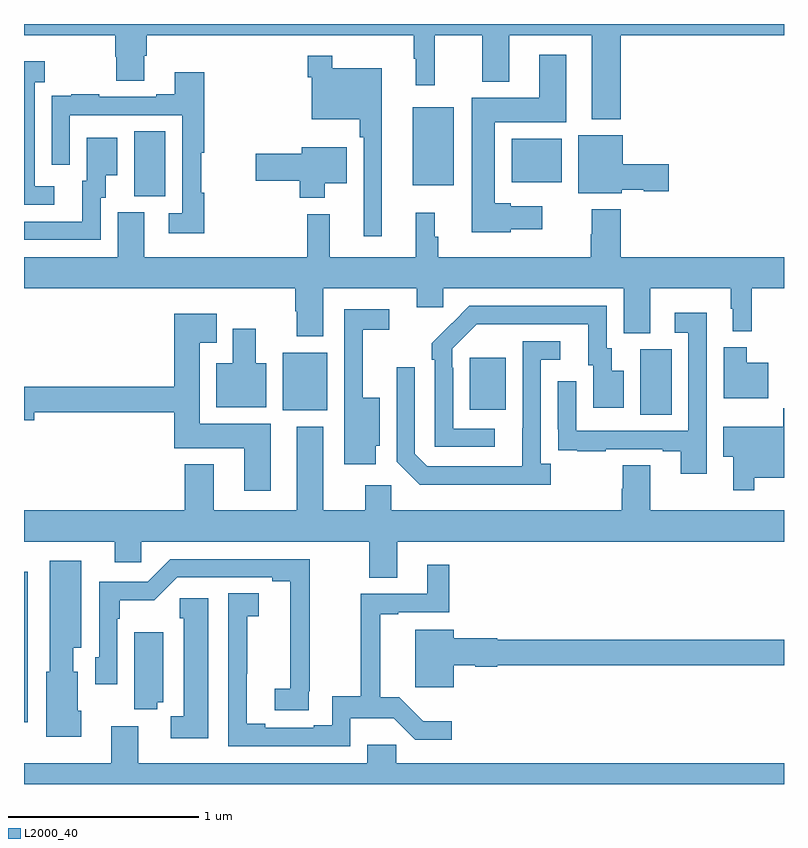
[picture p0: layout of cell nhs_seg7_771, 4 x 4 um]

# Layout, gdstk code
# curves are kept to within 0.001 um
import gdstk
lib = gdstk.Library(unit=1e-6, precision=1e-09)
def R(c, l, rs):  # rectangles x0, y0, x1, y1
    for r in rs: c.add(gdstk.rectangle(r[:2], r[2:], *l))
def P(c, l, *ps):  # polygons
    for p in ps: c.add(gdstk.Polygon(p, *l))
L2000_40 = (2000, 40)

nhs_seg7_771 = lib.new_cell('nhs_seg7_771')
R(nhs_seg7_771, L2000_40, [(169,1006.325,169.021,1007.116), (172.244,1007.944,172.408,1008.288), (170.363,1007.966,170.596,1008.271), (171.347,1007.969,171.535,1008.244), (169.58,1009.093,169.744,1009.436), (171.047,1009.151,171.262,1009.561), (171.566,1009.166,171.829,1009.396)])
P(nhs_seg7_771, L2000_40, [(169,1009.94),(169.481,1009.94),(169.481,1009.827),(169.486,1009.827),(169.486,1009.702),(169.633,1009.702),(169.633,1009.834),(169.646,1009.834),(169.646,1009.94),(171.051,1009.94),(171.051,1009.817),(171.062,1009.817),(171.062,1009.677),(171.162,1009.677),(171.162,1009.94),(171.413,1009.94),(171.413,1009.697),(171.553,1009.697),(171.553,1009.94),(171.989,1009.94),(171.989,1009.499),(172.142,1009.499),(172.142,1009.94),(173,1009.94),(173,1010),(169,1010)],
  [(171.561,1008.92),(171.727,1008.92),(171.727,1009.042),(171.561,1009.042),(171.561,1009.057),(171.478,1009.057),(171.478,1009.484),(171.853,1009.484),(171.853,1009.837),(171.713,1009.837),(171.713,1009.612),(171.356,1009.612),(171.356,1008.905),(171.561,1008.905)],
  [(170.884,1009.768),(170.623,1009.768),(170.623,1009.834),(170.494,1009.834),(170.494,1009.721),(170.514,1009.721),(170.514,1009.499),(170.767,1009.499),(170.767,1009.403),(170.787,1009.403),(170.787,1008.882),(170.884,1008.882)],
  [(169.159,1009.146),(169.056,1009.146),(169.056,1009.694),(169.108,1009.694),(169.108,1009.804),(169,1009.804),(169,1009.05),(169.159,1009.05)],
  [(169.949,1009.112),(169.934,1009.112),(169.934,1009.323),(169.949,1009.323),(169.949,1009.747),(169.793,1009.747),(169.793,1009.63),(169.697,1009.63),(169.697,1009.617),(169.397,1009.617),(169.397,1009.63),(169.249,1009.63),(169.249,1009.623),(169.147,1009.623),(169.147,1009.514),(169.146,1009.514),(169.146,1009.26),(169.242,1009.26),(169.242,1009.521),(169.833,1009.521),(169.833,1009.005),(169.761,1009.005),(169.761,1008.9),(169.949,1008.9)],
  [(172.146,1009.127),(172.263,1009.127),(172.263,1009.12),(172.393,1009.12),(172.393,1009.262),(172.15,1009.262),(172.15,1009.414),(171.917,1009.414),(171.917,1009.109),(172.146,1009.109)],
  [(169.404,1009.086),(169.429,1009.086),(169.429,1009.205),(169.492,1009.205),(169.492,1009.402),(169.331,1009.402),(169.331,1009.176),(169.307,1009.176),(169.307,1008.96),(169,1008.96),(169,1008.864),(169.404,1008.864)],
  [(170.584,1009.163),(170.698,1009.163),(170.698,1009.351),(170.462,1009.351),(170.462,1009.316),(170.22,1009.316),(170.22,1009.174),(170.45,1009.174),(170.45,1009.085),(170.584,1009.085)],
  [(169.493,1009.008),(169.493,1008.772),(169,1008.772),(169,1008.608),(170.428,1008.608),(170.428,1008.488),(170.435,1008.488),(170.435,1008.356),(170.575,1008.356),(170.575,1008.608),(171.068,1008.608),(171.068,1008.51),(171.207,1008.51),(171.207,1008.608),(172.157,1008.608),(172.157,1008.373),(172.297,1008.373),(172.297,1008.608),(172.719,1008.608),(172.719,1008.501),(172.73,1008.501),(172.73,1008.383),(172.829,1008.383),(172.829,1008.608),(173,1008.608),(173,1008.772),(172.142,1008.772),(172.142,1009.024),(171.989,1009.024),(171.989,1008.893),(171.982,1008.893),(171.982,1008.772),(171.179,1008.772),(171.179,1008.881),(171.161,1008.881),(171.161,1009.006),(171.062,1009.006),(171.062,1008.772),(170.609,1008.772),(170.609,1009),(170.491,1009),(170.491,1008.772),(169.633,1008.772),(169.633,1009.008)],
  [(171.478,1007.871),(171.258,1007.871),(171.258,1008.191),(171.255,1008.191),(171.255,1008.291),(171.384,1008.42),(171.971,1008.42),(171.971,1008.204),(171.995,1008.204),(171.995,1007.979),(172.156,1007.979),(172.156,1008.175),(172.093,1008.175),(172.093,1008.294),(172.068,1008.294),(172.068,1008.516),(171.344,1008.516),(171.147,1008.321),(171.147,1008.233),(171.162,1008.233),(171.162,1007.775),(171.478,1007.775)],
  [(170.851,1007.781),(170.872,1007.781),(170.872,1008.034),(170.783,1008.034),(170.783,1008.39),(170.923,1008.39),(170.923,1008.498),(170.685,1008.498),(170.685,1007.684),(170.851,1007.684)],
  [(172.593,1008.481),(172.425,1008.481),(172.425,1008.375),(172.497,1008.375),(172.497,1007.859),(171.906,1007.859),(171.906,1008.121),(171.81,1008.121),(171.81,1007.866),(171.811,1007.866),(171.811,1007.757),(171.913,1007.757),(171.913,1007.751),(172.061,1007.751),(172.061,1007.763),(172.361,1007.763),(172.361,1007.751),(172.457,1007.751),(172.457,1007.634),(172.593,1007.634)],
  [(170.299,1007.896),(169.924,1007.896),(169.924,1008.323),(170.014,1008.323),(170.014,1008.475),(169.79,1008.475),(169.79,1008.092),(169,1008.092),(169,1007.914),(169.054,1007.914),(169.054,1007.956),(169.79,1007.956),(169.79,1007.768),(170.159,1007.768),(170.159,1007.544),(170.299,1007.544)],
  [(170.275,1008.214),(170.221,1008.214),(170.221,1008.397),(170.099,1008.397),(170.099,1008.214),(170.012,1008.214),(170.012,1007.984),(170.275,1007.984)],
  [(171.772,1007.686),(171.72,1007.686),(171.72,1008.234),(171.823,1008.234),(171.823,1008.33),(171.624,1008.33),(171.623,1007.673),(171.123,1007.673),(171.057,1007.739),(171.057,1008.193),(170.961,1008.193),(170.961,1007.697),(171.082,1007.576),(171.772,1007.576)],
  [(172.918,1008.217),(172.804,1008.217),(172.804,1008.298),(172.682,1008.298),(172.682,1008.029),(172.918,1008.029)],
  [(172.843,1007.612),(173,1007.612),(173,1007.977),(172.995,1007.977),(172.995,1007.881),(172.68,1007.881),(172.68,1007.723),(172.733,1007.723),(172.733,1007.547),(172.843,1007.547)],
  [(170.965,1007.276),(173,1007.276),(173,1007.44),(172.297,1007.44),(172.297,1007.678),(172.15,1007.678),(172.15,1007.553),(172.145,1007.553),(172.145,1007.44),(170.934,1007.44),(170.934,1007.572),(170.795,1007.572),(170.795,1007.44),(170.575,1007.44),(170.575,1007.881),(170.435,1007.881),(170.435,1007.44),(169.999,1007.44),(169.999,1007.683),(169.847,1007.683),(169.847,1007.44),(169,1007.44),(169,1007.276),(169.478,1007.276),(169.478,1007.166),(169.617,1007.166),(169.617,1007.276),(170.818,1007.276),(170.818,1007.086),(170.965,1007.086)],
  [(170.498,1006.489),(170.504,1006.489),(170.504,1007.184),(169.77,1007.184),(169.65,1007.064),(169.395,1007.064),(169.395,1006.668),(169.374,1006.668),(169.374,1006.524),(169.491,1006.524),(169.491,1006.871),(169.504,1006.871),(169.504,1006.967),(169.685,1006.967),(169.806,1007.088),(170.306,1007.088),(170.306,1007.068),(170.402,1007.068),(170.401,1006.502),(170.319,1006.502),(170.319,1006.387),(170.498,1006.387)],
  [(169.3,1006.386),(169.284,1006.386),(169.284,1006.59),(169.258,1006.59),(169.258,1006.718),(169.3,1006.718),(169.3,1007.176),(169.136,1007.176),(169.136,1006.59),(169.118,1006.59),(169.118,1006.25),(169.3,1006.25)],
  [(170.718,1006.346),(170.947,1006.346),(171.06,1006.233),(171.25,1006.233),(171.25,1006.33),(171.101,1006.33),(170.975,1006.456),(170.876,1006.456),(170.876,1006.893),(170.971,1006.893),(170.971,1006.905),(171.239,1006.905),(171.239,1007.155),(171.122,1007.155),(171.122,1007.001),(170.773,1007.001),(170.773,1006.463),(170.622,1006.463),(170.622,1006.31),(170.525,1006.31),(170.525,1006.296),(170.269,1006.296),(170.269,1006.316),(170.173,1006.316),(170.173,1006.579),(170.175,1006.579),(170.175,1006.883),(170.236,1006.883),(170.236,1007.003),(170.076,1007.003),(170.076,1006.2),(170.718,1006.2)],
  [(169.969,1006.978),(169.819,1006.978),(169.819,1006.872),(169.841,1006.872),(169.841,1006.356),(169.773,1006.356),(169.773,1006.241),(169.969,1006.241)],
  [(171.262,1006.624),(171.375,1006.624),(171.375,1006.616),(171.492,1006.616),(171.492,1006.624),(173,1006.624),(173,1006.76),(171.492,1006.76),(171.492,1006.768),(171.262,1006.768),(171.262,1006.813),(171.059,1006.813),(171.059,1006.508),(171.262,1006.508)],
  [(169.7,1006.43),(169.732,1006.43),(169.732,1006.798),(169.58,1006.798),(169.58,1006.393),(169.7,1006.393)],
  [(173,1006.108),(170.959,1006.108),(170.959,1006.206),(170.807,1006.206),(170.807,1006.108),(169.6,1006.108),(169.6,1006.303),(169.46,1006.303),(169.46,1006.108),(169,1006.108),(169,1006),(173,1006)])

lib.write_gds('nhs_seg7_771.gds')
